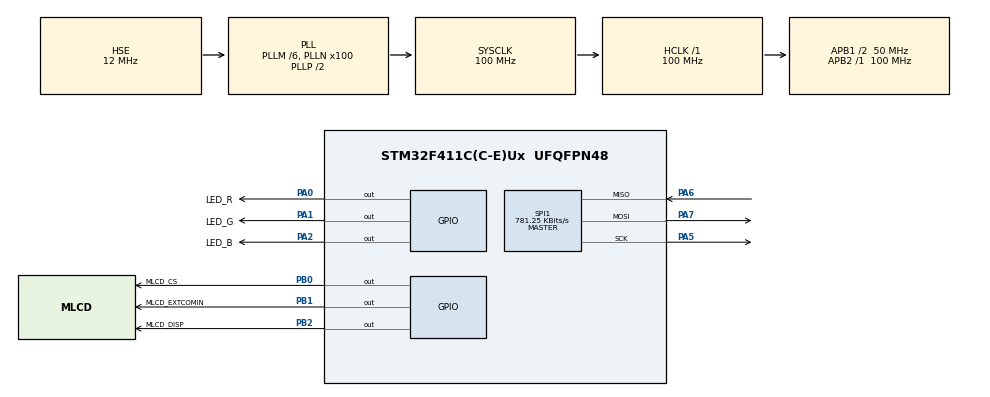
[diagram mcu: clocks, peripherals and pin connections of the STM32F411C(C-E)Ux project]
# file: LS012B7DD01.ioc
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Mcu.Family=STM32F4
Mcu.Name=STM32F411C(C-E)Ux
Mcu.Package=UFQFPN48
NVIC.PriorityGroup=NVIC_PRIORITYGROUP_4
PA0-WKUP.GPIO_Label=LED_R
PA0-WKUP.GPIO_PuPd=GPIO_PULLUP
PA0-WKUP.Signal=GPIO_Output
PA1.GPIO_Label=LED_G
PA1.GPIO_PuPd=GPIO_PULLUP
PA1.Signal=GPIO_Output
PA13.Mode=Serial_Wire
PA13.Signal=SYS_JTMS-SWDIO
PA14.Mode=Serial_Wire
PA14.Signal=SYS_JTCK-SWCLK
PA2.GPIO_Label=LED_B
PA2.GPIO_PuPd=GPIO_PULLUP
PA2.Signal=GPIO_Output
PA5.Mode=Full_Duplex_Master
PA5.Signal=SPI1_SCK
PA6.Mode=Full_Duplex_Master
PA6.Signal=SPI1_MISO
PA7.Mode=Full_Duplex_Master
PA7.Signal=SPI1_MOSI
PB0.GPIO_Label=MLCD_CS
PB0.GPIO_Speed=GPIO_SPEED_FREQ_HIGH
PB0.PinState=GPIO_PIN_SET
PB0.Signal=GPIO_Output
PB1.GPIO_Label=MLCD_EXTCOMIN
PB1.GPIO_Speed=GPIO_SPEED_FREQ_HIGH
PB1.PinState=GPIO_PIN_SET
PB1.Signal=GPIO_Output
PB2.GPIO_Label=MLCD_DISP
PB2.GPIO_Speed=GPIO_SPEED_FREQ_HIGH
PB2.PinState=GPIO_PIN_SET
PB2.Signal=GPIO_Output
PH0\ -\ OSC_IN.Mode=HSE-External-Oscillator
PH0\ -\ OSC_IN.Signal=RCC_OSC_IN
PH1\ -\ OSC_OUT.Mode=HSE-External-Oscillator
PH1\ -\ OSC_OUT.Signal=RCC_OSC_OUT
ProjectManager.HeapSize=0x2000
ProjectManager.StackSize=0x4000
ProjectManager.TargetToolchain=SW4STM32
RCC.48MHZClocksFreq_Value=50000000
RCC.AHBFreq_Value=100000000
RCC.APB1CLKDivider=RCC_HCLK_DIV2
RCC.APB1Freq_Value=50000000
RCC.APB1TimFreq_Value=100000000
RCC.APB2Freq_Value=100000000
RCC.APB2TimFreq_Value=100000000
RCC.CortexFreq_Value=100000000
RCC.HCLKFreq_Value=100000000
RCC.HSE_VALUE=12000000
RCC.HSI_VALUE=16000000
RCC.LSE_VALUE=32768
RCC.PLLM=6
RCC.PLLN=100
RCC.PLLSourceVirtual=RCC_PLLSOURCE_HSE
RCC.SYSCLKFreq_VALUE=100000000
RCC.SYSCLKSource=RCC_SYSCLKSOURCE_PLLCLK
RCC.VCOOutputFreq_Value=200000000
SPI1.BaudRatePrescaler=SPI_BAUDRATEPRESCALER_128
SPI1.CalculateBaudRate=781.25 KBits/s
SPI1.Direction=SPI_DIRECTION_2LINES
SPI1.FirstBit=SPI_FIRSTBIT_LSB
SPI1.Mode=SPI_MODE_MASTER
SPI1.VirtualType=VM_MASTER
board=custom

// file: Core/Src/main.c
/* USER CODE BEGIN Header */
/**
  ******************************************************************************
  * @file           : main.c
  * @brief          : Main program body
  ******************************************************************************
  * @attention
  *
  * Copyright (c) 2023 STMicroelectronics.
  * All rights reserved.
  *
  * This software is licensed under terms that can be found in the LICENSE file
  * in the root directory of this software component.
  * If no LICENSE file comes with this software, it is provided AS-IS.
  *
  ******************************************************************************
  */
/* USER CODE END Header */
#include "main.h"

/* USER CODE BEGIN Includes */
#include "mlcd/mlcd_test.h"
#include "mlcd/fonts.h"
/* USER CODE END Includes */

 SPI_HandleTypeDef hspi1;

void SystemClock_Config(void);
static void MX_GPIO_Init(void);
static void MX_SPI1_Init(void);
/* USER CODE BEGIN PFP */
void led(int state){
  switch (state) {
    case 0:
      HAL_GPIO_WritePin(LED_R_GPIO_Port, LED_R_Pin, GPIO_PIN_SET);
      HAL_GPIO_WritePin(LED_G_GPIO_Port, LED_G_Pin, GPIO_PIN_SET);
      HAL_GPIO_WritePin(LED_B_GPIO_Port, LED_B_Pin, GPIO_PIN_SET);
      break;
    case 1:
      HAL_GPIO_WritePin(LED_R_GPIO_Port, LED_R_Pin, GPIO_PIN_RESET);
      HAL_GPIO_WritePin(LED_G_GPIO_Port, LED_G_Pin, GPIO_PIN_SET);
      HAL_GPIO_WritePin(LED_B_GPIO_Port, LED_B_Pin, GPIO_PIN_SET);
      break;
    case 2:
      HAL_GPIO_WritePin(LED_R_GPIO_Port, LED_R_Pin, GPIO_PIN_SET);
      HAL_GPIO_WritePin(LED_G_GPIO_Port, LED_G_Pin, GPIO_PIN_RESET);
      HAL_GPIO_WritePin(LED_B_GPIO_Port, LED_B_Pin, GPIO_PIN_SET);
      break;
    case 3:
      HAL_GPIO_WritePin(LED_R_GPIO_Port, LED_R_Pin, GPIO_PIN_SET);
      HAL_GPIO_WritePin(LED_G_GPIO_Port, LED_G_Pin, GPIO_PIN_SET);
      HAL_GPIO_WritePin(LED_B_GPIO_Port, LED_B_Pin, GPIO_PIN_RESET);
      break;
    default:break;
  }
}
/* USER CODE END PFP */

int main(void)
{

  /* MCU Configuration--------------------------------------------------------*/

  /* Reset of all peripherals, Initializes the Flash interface and the Systick. */
  HAL_Init();

  /* Configure the system clock */
  SystemClock_Config();

  /* Initialize all configured peripherals */
  MX_GPIO_Init();
  MX_SPI1_Init();
  /* USER CODE BEGIN 2 */
  led(0);
  mlcd_Init();
  led(1);
  HAL_Delay(1);
  /* USER CODE END 2 */

  /* Infinite loop */
  /* USER CODE BEGIN WHILE */
  char start = 32;
  while (1)
  {
    mlcd_Clear();
    mlcd_WriteChar(start, Font_16x26, Black);
    mlcd_WriteChar(start, Font_16x26, Black);
    mlcd_WriteChar(start, Font_16x26, Black);
    if(start++ > 126)
      start = 32;
    mlcd_Refresh();
    /* USER CODE END WHILE */

    /* USER CODE BEGIN 3 */
    led(2);
    HAL_Delay(950);
    HAL_GPIO_WritePin(MLCD_EXTCOMIN_GPIO_Port, MLCD_EXTCOMIN_Pin, GPIO_PIN_SET);
    led(3);
    HAL_Delay(50);
    HAL_GPIO_WritePin(MLCD_EXTCOMIN_GPIO_Port, MLCD_EXTCOMIN_Pin, GPIO_PIN_RESET);
  }
  /* USER CODE END 3 */
}

void SystemClock_Config(void)
{
  RCC_OscInitTypeDef RCC_OscInitStruct = {0};
  RCC_ClkInitTypeDef RCC_ClkInitStruct = {0};

  /** Configure the main internal regulator output voltage
  */
  __HAL_RCC_PWR_CLK_ENABLE();
  __HAL_PWR_VOLTAGESCALING_CONFIG(PWR_REGULATOR_VOLTAGE_SCALE1);

  /** Initializes the RCC Oscillators according to the specified parameters
  * in the RCC_OscInitTypeDef structure.
  */
  RCC_OscInitStruct.OscillatorType = RCC_OSCILLATORTYPE_HSE;
  RCC_OscInitStruct.HSEState = RCC_HSE_ON;
  RCC_OscInitStruct.PLL.PLLState = RCC_PLL_ON;
  RCC_OscInitStruct.PLL.PLLSource = RCC_PLLSOURCE_HSE;
  RCC_OscInitStruct.PLL.PLLM = 6;
  RCC_OscInitStruct.PLL.PLLN = 100;
  RCC_OscInitStruct.PLL.PLLP = RCC_PLLP_DIV2;
  RCC_OscInitStruct.PLL.PLLQ = 4;
  if (HAL_RCC_OscConfig(&RCC_OscInitStruct) != HAL_OK)
  {
    Error_Handler();
  }

  /** Initializes the CPU, AHB and APB buses clocks
  */
  RCC_ClkInitStruct.ClockType = RCC_CLOCKTYPE_HCLK|RCC_CLOCKTYPE_SYSCLK
                              |RCC_CLOCKTYPE_PCLK1|RCC_CLOCKTYPE_PCLK2;
  RCC_ClkInitStruct.SYSCLKSource = RCC_SYSCLKSOURCE_PLLCLK;
  RCC_ClkInitStruct.AHBCLKDivider = RCC_SYSCLK_DIV1;
  RCC_ClkInitStruct.APB1CLKDivider = RCC_HCLK_DIV2;
  RCC_ClkInitStruct.APB2CLKDivider = RCC_HCLK_DIV1;

  if (HAL_RCC_ClockConfig(&RCC_ClkInitStruct, FLASH_LATENCY_3) != HAL_OK)
  {
    Error_Handler();
  }
}

static void MX_SPI1_Init(void)
{

  /* SPI1 parameter configuration*/
  hspi1.Instance = SPI1;
  hspi1.Init.Mode = SPI_MODE_MASTER;
  hspi1.Init.Direction = SPI_DIRECTION_2LINES;
  hspi1.Init.DataSize = SPI_DATASIZE_8BIT;
  hspi1.Init.CLKPolarity = SPI_POLARITY_LOW;
  hspi1.Init.CLKPhase = SPI_PHASE_1EDGE;
  hspi1.Init.NSS = SPI_NSS_SOFT;
  hspi1.Init.BaudRatePrescaler = SPI_BAUDRATEPRESCALER_128;
  hspi1.Init.FirstBit = SPI_FIRSTBIT_LSB;
  hspi1.Init.TIMode = SPI_TIMODE_DISABLE;
  hspi1.Init.CRCCalculation = SPI_CRCCALCULATION_DISABLE;
  hspi1.Init.CRCPolynomial = 10;
  if (HAL_SPI_Init(&hspi1) != HAL_OK)
  {
    Error_Handler();
  }

}

static void MX_GPIO_Init(void)
{
  GPIO_InitTypeDef GPIO_InitStruct = {0};

  /* GPIO Ports Clock Enable */
  __HAL_RCC_GPIOH_CLK_ENABLE();
  __HAL_RCC_GPIOA_CLK_ENABLE();
  __HAL_RCC_GPIOB_CLK_ENABLE();

  /*Configure GPIO pin Output Level */
  HAL_GPIO_WritePin(GPIOA, LED_R_Pin|LED_G_Pin|LED_B_Pin, GPIO_PIN_RESET);

  /*Configure GPIO pin Output Level */
  HAL_GPIO_WritePin(GPIOB, MLCD_CS_Pin|MLCD_EXTCOMIN_Pin|MLCD_DISP_Pin, GPIO_PIN_SET);

  /*Configure GPIO pins : LED_R_Pin LED_G_Pin LED_B_Pin */
  GPIO_InitStruct.Pin = LED_R_Pin|LED_G_Pin|LED_B_Pin;
  GPIO_InitStruct.Mode = GPIO_MODE_OUTPUT_PP;
  GPIO_InitStruct.Pull = GPIO_PULLUP;
  GPIO_InitStruct.Speed = GPIO_SPEED_FREQ_LOW;
  HAL_GPIO_Init(GPIOA, &GPIO_InitStruct);

  /*Configure GPIO pins : MLCD_CS_Pin MLCD_EXTCOMIN_Pin MLCD_DISP_Pin */
  GPIO_InitStruct.Pin = MLCD_CS_Pin|MLCD_EXTCOMIN_Pin|MLCD_DISP_Pin;
  GPIO_InitStruct.Mode = GPIO_MODE_OUTPUT_PP;
  GPIO_InitStruct.Pull = GPIO_NOPULL;
  GPIO_InitStruct.Speed = GPIO_SPEED_FREQ_HIGH;
  HAL_GPIO_Init(GPIOB, &GPIO_InitStruct);

}

void Error_Handler(void)
{
  __disable_irq();
  while (1)
  {
  }
}
